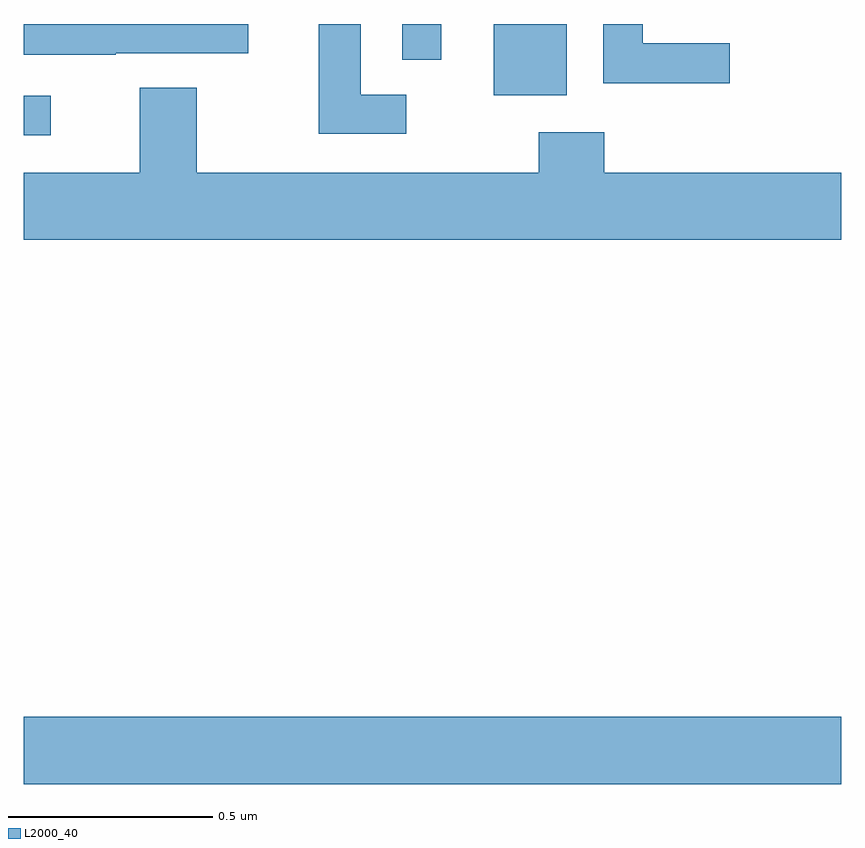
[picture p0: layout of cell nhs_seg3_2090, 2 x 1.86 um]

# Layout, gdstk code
import gdstk
lib = gdstk.Library(unit=1e-6, precision=1e-09)
def R(c, l, rs):  # rectangles x0, y0, x1, y1
    for r in rs: c.add(gdstk.rectangle(r[:2], r[2:], *l))
def P(c, l, *ps):  # polygons
    for p in ps: c.add(gdstk.Polygon(p, *l))
L2000_40 = (2000, 40)

nhs_seg3_2090 = lib.new_cell('nhs_seg3_2090')
R(nhs_seg3_2090, L2000_40, [(136,743.54,138,743.704), (136,745.128,136.066,745.224), (137.15,745.226,137.329,745.4), (136.926,745.312,137.022,745.4)])
P(nhs_seg3_2090, L2000_40, [(137.728,745.353),(137.514,745.353),(137.514,745.4),(137.418,745.4),(137.418,745.255),(137.728,745.255)],
  [(136.936,745.227),(136.825,745.227),(136.825,745.4),(136.721,745.4),(136.721,745.131),(136.936,745.131)],
  [(136.225,745.329),(136.549,745.329),(136.549,745.4),(136,745.4),(136,745.325),(136.225,745.325)],
  [(138,745.036),(137.42,745.036),(137.42,745.135),(137.26,745.135),(137.26,745.036),(136.423,745.036),(136.423,745.244),(136.283,745.244),(136.283,745.036),(136,745.036),(136,744.872),(138,744.872)])

lib.write_gds('nhs_seg3_2090.gds')
